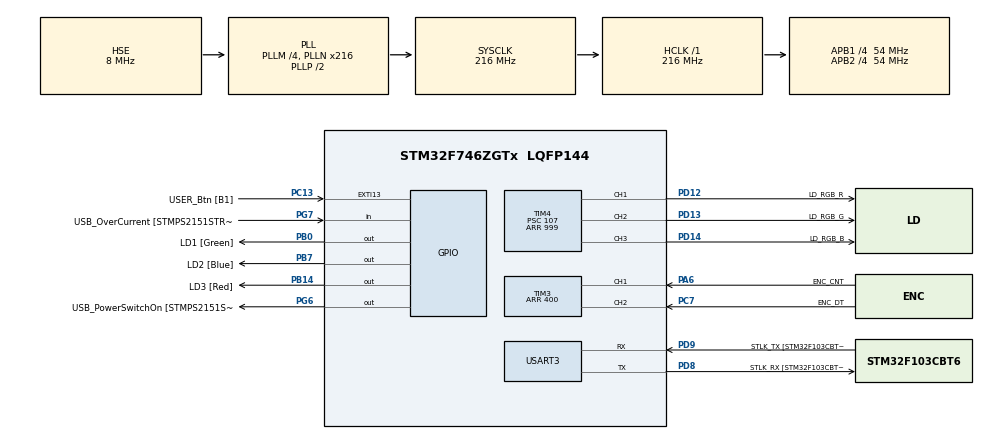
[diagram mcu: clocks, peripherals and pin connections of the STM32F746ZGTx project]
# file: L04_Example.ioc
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Mcu.Family=STM32F7
Mcu.Name=STM32F746ZGTx
Mcu.Package=LQFP144
NVIC.PriorityGroup=NVIC_PRIORITYGROUP_4
PA1.GPIO_Label=RMII_REF_CLK [LAN8742A-CZ-TR_REFCLK0]
PA1.Signal=ETH_REF_CLK
PA10.GPIO_Label=USB_ID
PA10.Signal=USB_OTG_FS_ID
PA11.GPIO_Label=USB_DM
PA11.Signal=USB_OTG_FS_DM
PA12.GPIO_Label=USB_DP
PA12.Signal=USB_OTG_FS_DP
PA13.GPIO_Label=TMS
PA13.Mode=Serial_Wire
PA13.Signal=SYS_JTMS-SWDIO
PA14.GPIO_Label=TCK
PA14.Mode=Serial_Wire
PA14.Signal=SYS_JTCK-SWCLK
PA2.GPIO_Label=RMII_MDIO [LAN8742A-CZ-TR_MDIO]
PA2.Signal=ETH_MDIO
PA6.GPIO_Label=ENC_CNT
PA6.GPIO_Speed=GPIO_SPEED_FREQ_VERY_HIGH
PA6.Signal=S_TIM3_CH1
PA7.GPIO_Label=RMII_CRS_DV [LAN8742A-CZ-TR_CRS_DV]
PA7.Signal=ETH_CRS_DV
PA8.GPIO_Label=USB_SOF [TP1]
PA8.Signal=USB_OTG_FS_SOF
PA9.GPIO_Label=USB_VBUS
PA9.Signal=USB_OTG_FS_VBUS
PB0.GPIO_Label=LD1 [Green]
PB0.Signal=GPIO_Output
PB13.GPIO_Label=RMII_TXD1 [LAN8742A-CZ-TR_TXD1]
PB13.Signal=ETH_TXD1
PB14.GPIO_Label=LD3 [Red]
PB14.Signal=GPIO_Output
PB3.GPIO_Label=SW0
PB3.Signal=SYS_JTDO-SWO
PB7.GPIO_Label=LD2 [Blue]
PB7.Signal=GPIO_Output
PC1.GPIO_Label=RMII_MDC [LAN8742A-CZ-TR_MDC]
PC1.Signal=ETH_MDC
PC13.GPIO_Label=USER_Btn [B1]
PC13.Signal=GPXTI13
PC14/OSC32_IN.Mode=LSE-External-Oscillator
PC14/OSC32_IN.Signal=RCC_OSC32_IN
PC15/OSC32_OUT.Mode=LSE-External-Oscillator
PC15/OSC32_OUT.Signal=RCC_OSC32_OUT
PC4.GPIO_Label=RMII_RXD0 [LAN8742A-CZ-TR_RXD0]
PC4.Signal=ETH_RXD0
PC5.GPIO_Label=RMII_RXD1 [LAN8742A-CZ-TR_RXD1]
PC5.Signal=ETH_RXD1
PC7.GPIO_Label=ENC_DT
PC7.GPIO_Speed=GPIO_SPEED_FREQ_VERY_HIGH
PC7.Signal=S_TIM3_CH2
PD12.GPIO_Label=LD_RGB_R
PD12.GPIO_PuPd=GPIO_PULLDOWN
PD12.GPIO_Speed=GPIO_SPEED_FREQ_HIGH
PD12.Signal=S_TIM4_CH1
PD13.GPIO_Label=LD_RGB_G
PD13.GPIO_PuPd=GPIO_PULLDOWN
PD13.GPIO_Speed=GPIO_SPEED_FREQ_HIGH
PD13.Signal=S_TIM4_CH2
PD14.GPIO_Label=LD_RGB_B
PD14.GPIO_PuPd=GPIO_PULLDOWN
PD14.GPIO_Speed=GPIO_SPEED_FREQ_HIGH
PD14.Signal=S_TIM4_CH3
PD8.GPIO_Label=STLK_RX [STM32F103CBT6_PA3]
PD8.GPIO_PuPd=GPIO_PULLUP
PD8.Mode=Asynchronous
PD8.Signal=USART3_TX
PD9.GPIO_Label=STLK_TX [STM32F103CBT6_PA2]
PD9.GPIO_PuPd=GPIO_PULLUP
PD9.Mode=Asynchronous
PD9.Signal=USART3_RX
PG11.GPIO_Label=RMII_TX_EN [LAN8742A-CZ-TR_TXEN]
PG11.Signal=ETH_TX_EN
PG13.GPIO_Label=RMII_TXD0 [LAN8742A-CZ-TR_TXD0]
PG13.Signal=ETH_TXD0
PG6.GPIO_Label=USB_PowerSwitchOn [STMPS2151STR_EN]
PG6.Signal=GPIO_Output
PG7.GPIO_Label=USB_OverCurrent [STMPS2151STR_FAULT]
PG7.Signal=GPIO_Input
PH0/OSC_IN.GPIO_Label=MCO [STM32F103CBT6_PA8]
PH0/OSC_IN.Mode=HSE-External-Clock-Source
PH0/OSC_IN.Signal=RCC_OSC_IN
PH1/OSC_OUT.Mode=HSE-External-Clock-Source
PH1/OSC_OUT.Signal=RCC_OSC_OUT
ProjectManager.HeapSize=0x200
ProjectManager.StackSize=0x400
ProjectManager.TargetToolchain=STM32CubeIDE
RCC.48MHZClocksFreq_Value=24000000
RCC.AHBFreq_Value=216000000
RCC.APB1CLKDivider=RCC_HCLK_DIV4
RCC.APB1Freq_Value=54000000
RCC.APB1TimFreq_Value=108000000
RCC.APB2CLKDivider=RCC_HCLK_DIV4
RCC.APB2Freq_Value=54000000
RCC.APB2TimFreq_Value=108000000
RCC.CortexFreq_Value=216000000
RCC.HCLKFreq_Value=216000000
RCC.HSE_VALUE=8000000
RCC.HSI_VALUE=16000000
RCC.PLLM=4
RCC.PLLMUL=RCC_PLL_MUL9
RCC.PLLN=216
RCC.PLLQ=3
RCC.PLLSourceVirtual=RCC_PLLSOURCE_HSE
RCC.PRESCALERUSB=RCC_USBCLKSOURCE_PLL_DIV1_5
RCC.SYSCLKFreq_VALUE=216000000
RCC.SYSCLKSource=RCC_SYSCLKSOURCE_PLLCLK
RCC.SYSCLKSourceVirtual=RCC_SYSCLKSOURCE_PLLCLK
RCC.USBFreq_Value=144000000
RCC.VCOOutputFreq_Value=432000000
SH.S_TIM3_CH1.0=TIM3_CH1,Encoder_Interface
SH.S_TIM3_CH2.0=TIM3_CH2,Encoder_Interface
SH.S_TIM4_CH1.0=TIM4_CH1,PWM Generation1 CH1
SH.S_TIM4_CH2.0=TIM4_CH2,PWM Generation2 CH2
SH.S_TIM4_CH3.0=TIM4_CH3,PWM Generation3 CH3
TIM3.EncoderMode=TIM_ENCODERMODE_TI12
TIM3.IC1Filter=0
TIM3.IC1Polarity=TIM_ICPOLARITY_RISING
TIM3.IC2Filter=0
TIM3.IC2Polarity=TIM_ICPOLARITY_RISING
TIM3.Period=400
TIM4.Channel-PWM\ Generation1\ CH1=TIM_CHANNEL_1
TIM4.Channel-PWM\ Generation2\ CH2=TIM_CHANNEL_2
TIM4.Channel-PWM\ Generation3\ CH3=TIM_CHANNEL_3
TIM4.Period=999
TIM4.Prescaler=107
USART3.VirtualMode-Asynchronous=VM_ASYNC
VP_TIM4_VS_ClockSourceINT.Mode=Internal
board=NUCLEO-F746ZG

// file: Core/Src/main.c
/* USER CODE BEGIN Header */
/**
  ******************************************************************************
  * @file           : main.c
  * @brief          : Main program body
  ******************************************************************************
  * @attention
  *
  * Copyright (c) 2024 STMicroelectronics.
  * All rights reserved.
  *
  * This software is licensed under terms that can be found in the LICENSE file
  * in the root directory of this software component.
  * If no LICENSE file comes with this software, it is provided AS-IS.
  *
  ******************************************************************************
  */
#define TASK 6
/* USER CODE END Header */
#include "main.h"
#include "tim.h"
#include "usart.h"
#include "gpio.h"

/* USER CODE BEGIN Includes */
#if TASK == 1
#include "led_config.h"
#endif
#if TASK == 2
#include "led_config.h"
#endif
#if TASK == 3
#include <stdio.h>
#include "led_config.h"
#endif
#if TASK == 4
#include <stdio.h>
#include "led_config.h"
#endif
#if TASK == 5
#include "encoder_config.h"
#endif
#if TASK == 6
#include <stdio.h>
#include "encoder_config.h"
#endif
/* USER CODE END Includes */

/* USER CODE BEGIN PV */
#if TASK == 2
float duty_cycle = 0.0f;
#endif
#if TASK == 5
unsigned int encoder_counter = 0;
#endif
/* USER CODE END PV */

void SystemClock_Config(void);

int main(void)
{

  /* MCU Configuration--------------------------------------------------------*/

  /* Reset of all peripherals, Initializes the Flash interface and the Systick. */
  HAL_Init();

  /* Configure the system clock */
  SystemClock_Config();

  /* Initialize all configured peripherals */
  MX_GPIO_Init();
  MX_USART3_UART_Init();
  MX_TIM4_Init();
  MX_TIM3_Init();
  /* USER CODE BEGIN 2 */
	#if TASK == 1
  LED_RGB_PWM_Init(&hldrgb);
  LED_PWM_WriteDuty(hldrgb.R, 50.0f);
  #endif
  #if TASK == 2
  LED_RGB_PWM_Init(&hldrgb);
  #endif
  #if TASK == 3
  LED_RGB_PWM_Init(&hldrgb);
  #endif
  #if TASK == 4
  LED_RGB_PWM_Init(&hldrgb);
  #endif
  #if TASK == 5
  ENC_Init(&henc1);
  #endif
  #if TASK == 6
  ENC_Init(&henc1);
  #endif
  /* USER CODE END 2 */

  /* Infinite loop */
  /* USER CODE BEGIN WHILE */
  while (1)
  {
    #if TASK == 2
    LED_PWM_WriteDuty(hldrgb.R, duty_cycle);
    duty_cycle = (duty_cycle < 100.0f) ? (duty_cycle + 10.0f) : 0.0f;
    HAL_Delay(499);
    #endif
    #if TASK == 3
    uint8_t RxData_DutyCycle[] = "X000";
    if(HAL_UART_Receive(&huart3, RxData_DutyCycle, sizeof(RxData_DutyCycle) - 1, HAL_MAX_DELAY) == HAL_OK)
    {
      char Channel = '\0';
      unsigned int DutyCycle = 0;
      if(sscanf((char*)RxData_DutyCycle, "%c%d", &Channel, &DutyCycle) == 2)
      {
        if(Channel == 'R')
          LED_PWM_WriteDuty(hldrgb.R, DutyCycle);
      }
    }
    #endif
    #if TASK == 4
    uint8_t RxData_DutyCycle[] = "X000";
    if(HAL_UART_Receive(&huart3, RxData_DutyCycle, sizeof(RxData_DutyCycle) - 1, HAL_MAX_DELAY) == HAL_OK)
    {
      char Channel = '\0';
      unsigned int DutyCycle = 0;
      if(sscanf((char*)RxData_DutyCycle, "%c%d", &Channel, &DutyCycle) == 2)
      {
        switch(Channel)
        {
          case 'R':
            LED_PWM_WriteDuty(hldrgb.R, DutyCycle);
            break;
          case 'G':
            LED_PWM_WriteDuty(hldrgb.G, DutyCycle);
            break;
          case 'B':
            LED_PWM_WriteDuty(hldrgb.B, DutyCycle);
            break;
          default: break;
        }
      }
    }
    #endif
    #if TASK == 5
    encoder_counter = ENC_ReadCounter(&henc1);
    HAL_Delay(0);
    #endif
    #if TASK == 6
    unsigned char TxData_EncoderCounter[128];
    int TxData_EncoderCounter_Len = snprintf((char*)TxData_EncoderCounter, sizeof(TxData_EncoderCounter), "Encoder counter: %lu\r\n", ENC_ReadCounter(&henc1));
    HAL_UART_Transmit(&huart3, TxData_EncoderCounter, TxData_EncoderCounter_Len, 100);
    HAL_Delay(999);
    #endif
    /* USER CODE END WHILE */

  }
}

void SystemClock_Config(void)
{
  RCC_OscInitTypeDef RCC_OscInitStruct = {0};
  RCC_ClkInitTypeDef RCC_ClkInitStruct = {0};

  /** Configure LSE Drive Capability
  */
  HAL_PWR_EnableBkUpAccess();

  /** Configure the main internal regulator output voltage
  */
  __HAL_RCC_PWR_CLK_ENABLE();
  __HAL_PWR_VOLTAGESCALING_CONFIG(PWR_REGULATOR_VOLTAGE_SCALE1);

  /** Initializes the RCC Oscillators according to the specified parameters
  * in the RCC_OscInitTypeDef structure.
  */
  RCC_OscInitStruct.OscillatorType = RCC_OSCILLATORTYPE_HSE;
  RCC_OscInitStruct.HSEState = RCC_HSE_BYPASS;
  RCC_OscInitStruct.PLL.PLLState = RCC_PLL_ON;
  RCC_OscInitStruct.PLL.PLLSource = RCC_PLLSOURCE_HSE;
  RCC_OscInitStruct.PLL.PLLM = 4;
  RCC_OscInitStruct.PLL.PLLN = 216;
  RCC_OscInitStruct.PLL.PLLP = RCC_PLLP_DIV2;
  RCC_OscInitStruct.PLL.PLLQ = 3;
  if (HAL_RCC_OscConfig(&RCC_OscInitStruct) != HAL_OK)
  {
    Error_Handler();
  }

  /** Activate the Over-Drive mode
  */
  if (HAL_PWREx_EnableOverDrive() != HAL_OK)
  {
    Error_Handler();
  }

  /** Initializes the CPU, AHB and APB buses clocks
  */
  RCC_ClkInitStruct.ClockType = RCC_CLOCKTYPE_HCLK|RCC_CLOCKTYPE_SYSCLK
                              |RCC_CLOCKTYPE_PCLK1|RCC_CLOCKTYPE_PCLK2;
  RCC_ClkInitStruct.SYSCLKSource = RCC_SYSCLKSOURCE_PLLCLK;
  RCC_ClkInitStruct.AHBCLKDivider = RCC_SYSCLK_DIV1;
  RCC_ClkInitStruct.APB1CLKDivider = RCC_HCLK_DIV4;
  RCC_ClkInitStruct.APB2CLKDivider = RCC_HCLK_DIV4;

  if (HAL_RCC_ClockConfig(&RCC_ClkInitStruct, FLASH_LATENCY_7) != HAL_OK)
  {
    Error_Handler();
  }
}

void Error_Handler(void)
{
  __disable_irq();
  while (1)
  {
  }
}
